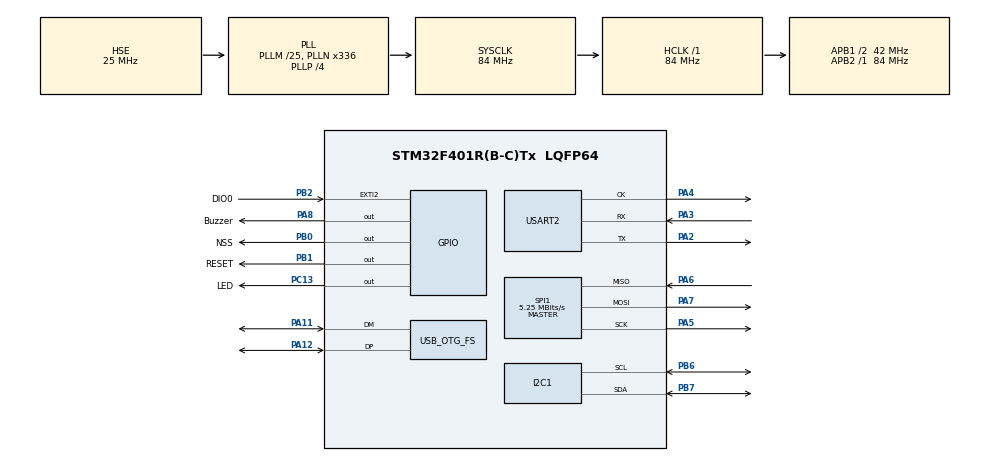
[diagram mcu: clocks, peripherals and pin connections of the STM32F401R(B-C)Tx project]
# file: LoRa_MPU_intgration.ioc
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FREERTOS.Tasks01=MPU6050Task,47,256,MPU6050_Task,Default,NULL,Dynamic,NULL,NULL;LoRaSenderTask,28,256,LoRa_Sender_Task,Default,NULL,Dynamic,NULL,NULL;LoRaReceiverTas,24,256,LoRa_Receiver_Task,Default,NULL,Dynamic,NULL,NULL
Mcu.Family=STM32F4
Mcu.Name=STM32F401R(B-C)Tx
Mcu.Package=LQFP64
NVIC.EXTI2_IRQn=true\:5\:0\:false\:false\:true\:true\:true\:true\:true
NVIC.OTG_FS_IRQn=true\:5\:0\:false\:false\:true\:true\:false\:true\:true
NVIC.PriorityGroup=NVIC_PRIORITYGROUP_4
NVIC.TIM3_IRQn=true\:15\:0\:false\:false\:true\:false\:false\:true\:true
NVIC.TimeBase=TIM3_IRQn
NVIC.TimeBaseIP=TIM3
NVIC.USART2_IRQn=true\:5\:0\:false\:false\:true\:true\:true\:true\:true
PA11.Mode=Device_Only
PA11.Signal=USB_OTG_FS_DM
PA12.Mode=Device_Only
PA12.Signal=USB_OTG_FS_DP
PA13.Mode=Trace_Asynchronous_SW
PA13.Signal=SYS_JTMS-SWDIO
PA14.Mode=Trace_Asynchronous_SW
PA14.Signal=SYS_JTCK-SWCLK
PA2.Mode=Synchronous
PA2.Signal=USART2_TX
PA3.Mode=Synchronous
PA3.Signal=USART2_RX
PA4.Mode=Synchronous
PA4.Signal=USART2_CK
PA5.Mode=Full_Duplex_Master
PA5.Signal=SPI1_SCK
PA6.Mode=Full_Duplex_Master
PA6.Signal=SPI1_MISO
PA7.Mode=Full_Duplex_Master
PA7.Signal=SPI1_MOSI
PA8.GPIO_Label=Buzzer
PA8.Signal=GPIO_Output
PB0.GPIO_Label=NSS
PB0.PinState=GPIO_PIN_SET
PB0.Signal=GPIO_Output
PB1.GPIO_Label=RESET
PB1.PinState=GPIO_PIN_SET
PB1.Signal=GPIO_Output
PB2.GPIO_Label=DIO0
PB2.Signal=GPXTI2
PB3.Mode=Trace_Asynchronous_SW
PB3.Signal=SYS_JTDO-SWO
PB6.Mode=I2C
PB6.Signal=I2C1_SCL
PB7.Mode=I2C
PB7.Signal=I2C1_SDA
PC13-ANTI_TAMP.GPIO_Label=LED
PC13-ANTI_TAMP.PinState=GPIO_PIN_SET
PC13-ANTI_TAMP.Signal=GPIO_Output
PH0\ -\ OSC_IN.Mode=HSE-External-Oscillator
PH0\ -\ OSC_IN.Signal=RCC_OSC_IN
PH1\ -\ OSC_OUT.Mode=HSE-External-Oscillator
PH1\ -\ OSC_OUT.Signal=RCC_OSC_OUT
ProjectManager.HeapSize=0x200
ProjectManager.StackSize=0x400
ProjectManager.TargetToolchain=STM32CubeIDE
RCC.48MHZClocksFreq_Value=48000000
RCC.AHBFreq_Value=84000000
RCC.APB1CLKDivider=RCC_HCLK_DIV2
RCC.APB1Freq_Value=42000000
RCC.APB1TimFreq_Value=84000000
RCC.APB2Freq_Value=84000000
RCC.APB2TimFreq_Value=84000000
RCC.CortexFreq_Value=84000000
RCC.HCLKFreq_Value=84000000
RCC.HSE_VALUE=25000000
RCC.HSI_VALUE=16000000
RCC.LSE_VALUE=32768
RCC.PLLM=25
RCC.PLLN=336
RCC.PLLP=RCC_PLLP_DIV4
RCC.PLLQ=7
RCC.SYSCLKFreq_VALUE=84000000
RCC.SYSCLKSource=RCC_SYSCLKSOURCE_PLLCLK
RCC.VCOOutputFreq_Value=336000000
SPI1.BaudRatePrescaler=SPI_BAUDRATEPRESCALER_16
SPI1.CalculateBaudRate=5.25 MBits/s
SPI1.Direction=SPI_DIRECTION_2LINES
SPI1.Mode=SPI_MODE_MASTER
SPI1.VirtualType=VM_MASTER
USART2.VirtualMode=VM_SYNC
USB_DEVICE.CLASS_NAME_FS=CDC
USB_DEVICE.VirtualMode=Cdc
USB_DEVICE.VirtualModeFS=Cdc_FS
USB_OTG_FS.VirtualMode=Device_Only
VP_CRC_VS_CRC.Mode=CRC_Activate
VP_FREERTOS_VS_CMSIS_V2.Mode=CMSIS_V2
VP_SYS_VS_tim3.Mode=TIM3
VP_USB_DEVICE_VS_USB_DEVICE_CDC_FS.Mode=CDC_FS
board=custom

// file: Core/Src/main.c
/* USER CODE BEGIN Header */
/**
  ******************************************************************************
  * @file           : main.c
  * @brief          : CarSync_1
  ******************************************************************************
  * @attention
  *
  * Copyright (c) 2025 STMicroelectronics.
  * All rights reserved.
  *
  * This software is licensed under terms that can be found in the LICENSE file
  * in the root directory of this software component.
  * If no LICENSE file comes with this software, it is provided AS-IS.
  *
  ******************************************************************************
  */
/* USER CODE END Header */
#include "main.h"
#include "cmsis_os.h"
#include "usb_device.h"

/* USER CODE BEGIN Includes */

#include "mpu_6050_task.h"
#include "lora_config.h"
#include "ack_handler.h"
#include "usbd_cdc_if.h"

/* USER CODE END Includes */

CRC_HandleTypeDef hcrc;

I2C_HandleTypeDef hi2c1;

SPI_HandleTypeDef hspi1;

USART_HandleTypeDef husart2;

/* Definitions for MPU6050Task */
osThreadId_t MPU6050TaskHandle;
const osThreadAttr_t MPU6050Task_attributes = {
  .name = "MPU6050Task",
  .stack_size = 256 * 4,
  .priority = (osPriority_t) osPriorityHigh7,
};
/* Definitions for LoRaSenderTask */
osThreadId_t LoRaSenderTaskHandle;
const osThreadAttr_t LoRaSenderTask_attributes = {
  .name = "LoRaSenderTask",
  .stack_size = 256 * 4,
  .priority = (osPriority_t) osPriorityNormal4,
};
/* Definitions for LoRaReceiverTas */
osThreadId_t LoRaReceiverTasHandle;
const osThreadAttr_t LoRaReceiverTas_attributes = {
  .name = "LoRaReceiverTas",
  .stack_size = 256 * 4,
  .priority = (osPriority_t) osPriorityNormal,
};
/* USER CODE BEGIN PV */
MPU6050_t MPU6050;
LoRa myLoRa;
uint8_t receivedFlag = 0;
/* USER CODE END PV */

void SystemClock_Config(void);
static void MX_GPIO_Init(void);
static void MX_CRC_Init(void);
static void MX_I2C1_Init(void);
static void MX_SPI1_Init(void);
static void MX_USART2_Init(void);
void MPU6050_Task(void *argument);
void LoRa_Sender_Task(void *argument);
void LoRa_Receiver_Task(void *argument);

/* USER CODE BEGIN PFP */
void HAL_GPIO_EXTI_Callback(uint16_t GPIO_Pin);

/* USER CODE END PFP */

int main(void)
{

  /* MCU Configuration--------------------------------------------------------*/

  /* Reset of all peripherals, Initializes the Flash interface and the Systick. */
  HAL_Init();

  /* Configure the system clock */
  SystemClock_Config();

  /* Initialize all configured peripherals */
  MX_GPIO_Init();
  MX_CRC_Init();
  MX_I2C1_Init();
  MX_SPI1_Init();
  MX_USART2_Init();
  /* USER CODE BEGIN 2 */
  HAL_Delay(3000);
    CDC_Transmit_FS((uint8_t*) "System Starting\r\n", strlen("System Starting\r\n"));

    // Initialize MPU-6050
    uint8_t check = MPU6050_Init(&hi2c1);
    char buffer[256];
    itoa(check, buffer, 10);

  	// Initialize LoRa using the function from lora_config.c
  	 LoRa_Init();
  	 // Start LoRa receiving
  	 LoRa_startReceiving(&myLoRa);

  	  CDC_Transmit_FS((uint8_t*) "LoRa Initialized\r\n", strlen("LoRa Initialized\r\n"));

  /* USER CODE END 2 */

  /* Init scheduler */
  osKernelInitialize();

  /* Create the thread(s) */
  /* creation of MPU6050Task */
  MPU6050TaskHandle = osThreadNew(MPU6050_Task, NULL, &MPU6050Task_attributes);

  /* creation of LoRaSenderTask */
  LoRaSenderTaskHandle = osThreadNew(LoRa_Sender_Task, NULL, &LoRaSenderTask_attributes);

  /* creation of LoRaReceiverTas */
  LoRaReceiverTasHandle = osThreadNew(LoRa_Receiver_Task, NULL, &LoRaReceiverTas_attributes);

  /* Start scheduler */
  osKernelStart();

  /* We should never get here as control is now taken by the scheduler */

  /* Infinite loop */
  while (1)
  {

    /* USER CODE BEGIN 3 */
      vTaskDelay(pdMS_TO_TICKS(10)); // Polling delay

//    if(check == 0)
//    {
//	  MPU6050_Data(&hi2c1, &MPU6050);
//	   HAL_Delay(3000);
//
//	 }
//    if (receivedFlag)
//   	   {
//   	 	 receivedFlag = 0;
//   	 	 receiveAndsendACK_RX(&myLoRa);
//   	 	HAL_GPIO_TogglePin(Buzzer_GPIO_Port, Buzzer_Pin);
//   	 	HAL_Delay(100);
//   	 	HAL_GPIO_TogglePin(Buzzer_GPIO_Port, Buzzer_Pin);
//   	 	HAL_Delay(100);
//   	 	HAL_GPIO_TogglePin(Buzzer_GPIO_Port, Buzzer_Pin);
//   	 	HAL_Delay(100);
//   	 	HAL_GPIO_WritePin(Buzzer_GPIO_Port, Buzzer_Pin, GPIO_PIN_RESET);
//   	 	}

  }
  /* USER CODE END 3 */
}

void SystemClock_Config(void)
{
  RCC_OscInitTypeDef RCC_OscInitStruct = {0};
  RCC_ClkInitTypeDef RCC_ClkInitStruct = {0};

  /** Configure the main internal regulator output voltage
  */
  __HAL_RCC_PWR_CLK_ENABLE();
  __HAL_PWR_VOLTAGESCALING_CONFIG(PWR_REGULATOR_VOLTAGE_SCALE2);

  /** Initializes the RCC Oscillators according to the specified parameters
  * in the RCC_OscInitTypeDef structure.
  */
  RCC_OscInitStruct.OscillatorType = RCC_OSCILLATORTYPE_HSE;
  RCC_OscInitStruct.HSEState = RCC_HSE_ON;
  RCC_OscInitStruct.PLL.PLLState = RCC_PLL_ON;
  RCC_OscInitStruct.PLL.PLLSource = RCC_PLLSOURCE_HSE;
  RCC_OscInitStruct.PLL.PLLM = 25;
  RCC_OscInitStruct.PLL.PLLN = 336;
  RCC_OscInitStruct.PLL.PLLP = RCC_PLLP_DIV4;
  RCC_OscInitStruct.PLL.PLLQ = 7;
  if (HAL_RCC_OscConfig(&RCC_OscInitStruct) != HAL_OK)
  {
    Error_Handler();
  }

  /** Initializes the CPU, AHB and APB buses clocks
  */
  RCC_ClkInitStruct.ClockType = RCC_CLOCKTYPE_HCLK|RCC_CLOCKTYPE_SYSCLK
                              |RCC_CLOCKTYPE_PCLK1|RCC_CLOCKTYPE_PCLK2;
  RCC_ClkInitStruct.SYSCLKSource = RCC_SYSCLKSOURCE_PLLCLK;
  RCC_ClkInitStruct.AHBCLKDivider = RCC_SYSCLK_DIV1;
  RCC_ClkInitStruct.APB1CLKDivider = RCC_HCLK_DIV2;
  RCC_ClkInitStruct.APB2CLKDivider = RCC_HCLK_DIV1;

  if (HAL_RCC_ClockConfig(&RCC_ClkInitStruct, FLASH_LATENCY_2) != HAL_OK)
  {
    Error_Handler();
  }
}

static void MX_CRC_Init(void)
{

  hcrc.Instance = CRC;
  if (HAL_CRC_Init(&hcrc) != HAL_OK)
  {
    Error_Handler();
  }

}

static void MX_I2C1_Init(void)
{

  hi2c1.Instance = I2C1;
  hi2c1.Init.ClockSpeed = 100000;
  hi2c1.Init.DutyCycle = I2C_DUTYCYCLE_2;
  hi2c1.Init.OwnAddress1 = 0;
  hi2c1.Init.AddressingMode = I2C_ADDRESSINGMODE_7BIT;
  hi2c1.Init.DualAddressMode = I2C_DUALADDRESS_DISABLE;
  hi2c1.Init.OwnAddress2 = 0;
  hi2c1.Init.GeneralCallMode = I2C_GENERALCALL_DISABLE;
  hi2c1.Init.NoStretchMode = I2C_NOSTRETCH_DISABLE;
  if (HAL_I2C_Init(&hi2c1) != HAL_OK)
  {
    Error_Handler();
  }

}

static void MX_SPI1_Init(void)
{

  /* SPI1 parameter configuration*/
  hspi1.Instance = SPI1;
  hspi1.Init.Mode = SPI_MODE_MASTER;
  hspi1.Init.Direction = SPI_DIRECTION_2LINES;
  hspi1.Init.DataSize = SPI_DATASIZE_8BIT;
  hspi1.Init.CLKPolarity = SPI_POLARITY_LOW;
  hspi1.Init.CLKPhase = SPI_PHASE_1EDGE;
  hspi1.Init.NSS = SPI_NSS_SOFT;
  hspi1.Init.BaudRatePrescaler = SPI_BAUDRATEPRESCALER_16;
  hspi1.Init.FirstBit = SPI_FIRSTBIT_MSB;
  hspi1.Init.TIMode = SPI_TIMODE_DISABLE;
  hspi1.Init.CRCCalculation = SPI_CRCCALCULATION_DISABLE;
  hspi1.Init.CRCPolynomial = 10;
  if (HAL_SPI_Init(&hspi1) != HAL_OK)
  {
    Error_Handler();
  }

}

static void MX_USART2_Init(void)
{

  husart2.Instance = USART2;
  husart2.Init.BaudRate = 115200;
  husart2.Init.WordLength = USART_WORDLENGTH_8B;
  husart2.Init.StopBits = USART_STOPBITS_1;
  husart2.Init.Parity = USART_PARITY_NONE;
  husart2.Init.Mode = USART_MODE_TX_RX;
  husart2.Init.CLKPolarity = USART_POLARITY_LOW;
  husart2.Init.CLKPhase = USART_PHASE_1EDGE;
  husart2.Init.CLKLastBit = USART_LASTBIT_DISABLE;
  if (HAL_USART_Init(&husart2) != HAL_OK)
  {
    Error_Handler();
  }

}

static void MX_GPIO_Init(void)
{
  GPIO_InitTypeDef GPIO_InitStruct = {0};

  /* GPIO Ports Clock Enable */
  __HAL_RCC_GPIOC_CLK_ENABLE();
  __HAL_RCC_GPIOH_CLK_ENABLE();
  __HAL_RCC_GPIOA_CLK_ENABLE();
  __HAL_RCC_GPIOB_CLK_ENABLE();

  /*Configure GPIO pin Output Level */
  HAL_GPIO_WritePin(LED_GPIO_Port, LED_Pin, GPIO_PIN_SET);

  /*Configure GPIO pin Output Level */
  HAL_GPIO_WritePin(GPIOB, NSS_Pin|RESET_Pin, GPIO_PIN_SET);

  /*Configure GPIO pin Output Level */
  HAL_GPIO_WritePin(Buzzer_GPIO_Port, Buzzer_Pin, GPIO_PIN_RESET);

  /*Configure GPIO pin : LED_Pin */
  GPIO_InitStruct.Pin = LED_Pin;
  GPIO_InitStruct.Mode = GPIO_MODE_OUTPUT_PP;
  GPIO_InitStruct.Pull = GPIO_NOPULL;
  GPIO_InitStruct.Speed = GPIO_SPEED_FREQ_LOW;
  HAL_GPIO_Init(LED_GPIO_Port, &GPIO_InitStruct);

  /*Configure GPIO pins : NSS_Pin RESET_Pin */
  GPIO_InitStruct.Pin = NSS_Pin|RESET_Pin;
  GPIO_InitStruct.Mode = GPIO_MODE_OUTPUT_PP;
  GPIO_InitStruct.Pull = GPIO_NOPULL;
  GPIO_InitStruct.Speed = GPIO_SPEED_FREQ_LOW;
  HAL_GPIO_Init(GPIOB, &GPIO_InitStruct);

  /*Configure GPIO pin : DIO0_Pin */
  GPIO_InitStruct.Pin = DIO0_Pin;
  GPIO_InitStruct.Mode = GPIO_MODE_IT_RISING;
  GPIO_InitStruct.Pull = GPIO_NOPULL;
  HAL_GPIO_Init(DIO0_GPIO_Port, &GPIO_InitStruct);

  /*Configure GPIO pin : Buzzer_Pin */
  GPIO_InitStruct.Pin = Buzzer_Pin;
  GPIO_InitStruct.Mode = GPIO_MODE_OUTPUT_PP;
  GPIO_InitStruct.Pull = GPIO_NOPULL;
  GPIO_InitStruct.Speed = GPIO_SPEED_FREQ_LOW;
  HAL_GPIO_Init(Buzzer_GPIO_Port, &GPIO_InitStruct);

  /* EXTI interrupt init*/
  HAL_NVIC_SetPriority(EXTI2_IRQn, 5, 0);
  HAL_NVIC_EnableIRQ(EXTI2_IRQn);

}

/* USER CODE BEGIN 4 */

void HAL_GPIO_EXTI_Callback(uint16_t GPIO_Pin) {
	if (GPIO_Pin == myLoRa.DIO0_pin) {
		// This indicates a packet has been received
		// We'll handle it in the main loop
		receivedFlag = 1;
	}
}
/* USER CODE END 4 */

void MPU6050_Task(void *argument)
{
  /* init code for USB_DEVICE */
  MX_USB_DEVICE_Init();
  /* USER CODE BEGIN 5 */
  /* Infinite loop */
  for(;;)
  {
	    MPU6050_Data(&hi2c1, &MPU6050);
	    vTaskDelay(pdMS_TO_TICKS(500));
  }
  /* USER CODE END 5 */
}

void LoRa_Sender_Task(void *argument)
{
  /* USER CODE BEGIN LoRa_Sender_Task */
	 const char accidentMessage[] = "Vehicle flipped! Alert received.";
  /* Infinite loop */
  for(;;)
  {

	  ulTaskNotifyTake(pdTRUE, portMAX_DELAY);
	      if (vehicleFlipped)
	      {
	        sendMessageAndWaitForAck_TX(&myLoRa, (uint8_t*)accidentMessage);
	        vehicleFlipped = false;
	      }
	      vTaskDelay(pdMS_TO_TICKS(1000));

  }
  /* USER CODE END LoRa_Sender_Task */
}

void LoRa_Receiver_Task(void *argument)
{
  /* USER CODE BEGIN LoRa_Receiver_Task */
  /* Infinite loop */
  for(;;)
  {
	  if (receivedFlag)
	     	   {
	     	 	 receivedFlag = 0;
	     	 	 receiveAndsendACK_RX(&myLoRa);
	     	   }
      vTaskDelay(pdMS_TO_TICKS(1000));

   }

  /* USER CODE END LoRa_Receiver_Task */
}

void HAL_TIM_PeriodElapsedCallback(TIM_HandleTypeDef *htim)
{
  if (htim->Instance == TIM3)
  {
    HAL_IncTick();
  }
}

void Error_Handler(void)
{
  __disable_irq();
  while (1)
  {
  }
}
